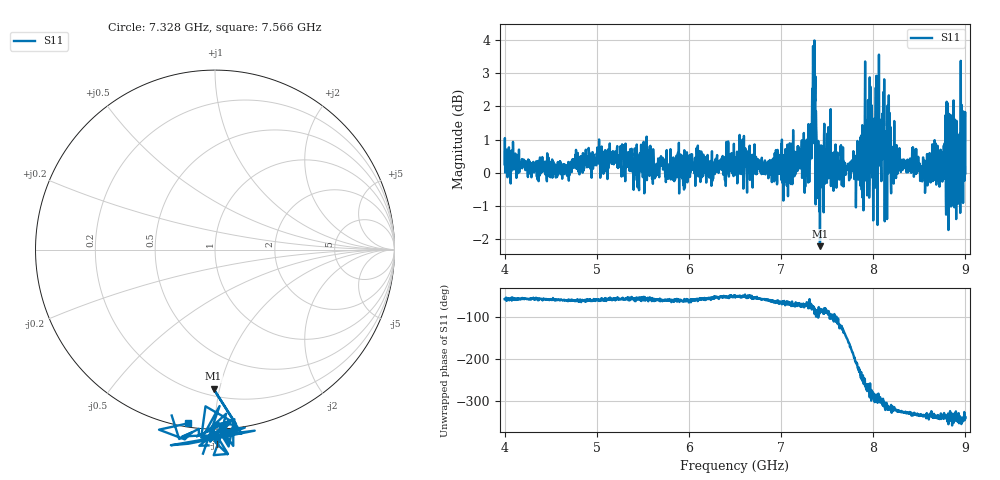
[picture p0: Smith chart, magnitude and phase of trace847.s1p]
! Created with skrf 1.8.0 (http://scikit-rf.org).
# Hz S RI R 50.0
!freq ReS11 ImS11
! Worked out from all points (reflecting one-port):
!   1601 points, 4 GHz to 9 GHz, reference 50 ohm
!   lowest |S11| = -2.2 dB at 7.422 GHz (marker M1), VSWR 7.91, Z = 12.3 - j47.9 ohm
!   phase of S11 starts at -59 deg and turns -280 deg over the sweep
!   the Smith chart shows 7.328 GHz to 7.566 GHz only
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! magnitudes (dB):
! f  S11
! 4 GHz  0.3
! 4.625 GHz  -0.2
! 5.25 GHz  0.2
! 5.875 GHz  -0.1
! 6.5 GHz  0.1
! 7.125 GHz  0.9
! 7.288 GHz  0.8
! 7.316 GHz  0.4
! 7.347 GHz  3.8
! 7.369 GHz  2.2
! 7.4 GHz  0.4
! 7.422 GHz  -2.2
! 7.512 GHz  1.4
! 7.566 GHz  -0.2
! 7.75 GHz  0.0
! 7.962 GHz  2.9
! 7.997 GHz  0.2
! 8.047 GHz  -1.6
! 8.066 GHz  0.5
! 8.097 GHz  0.4
! 8.15 GHz  -1.4
! 8.181 GHz  1.1
! 8.375 GHz  0.3
! 8.556 GHz  0.1
! 8.872 GHz  2.2
! 8.922 GHz  -0.1
! 8.972 GHz  0.7
! 9 GHz  0.0
